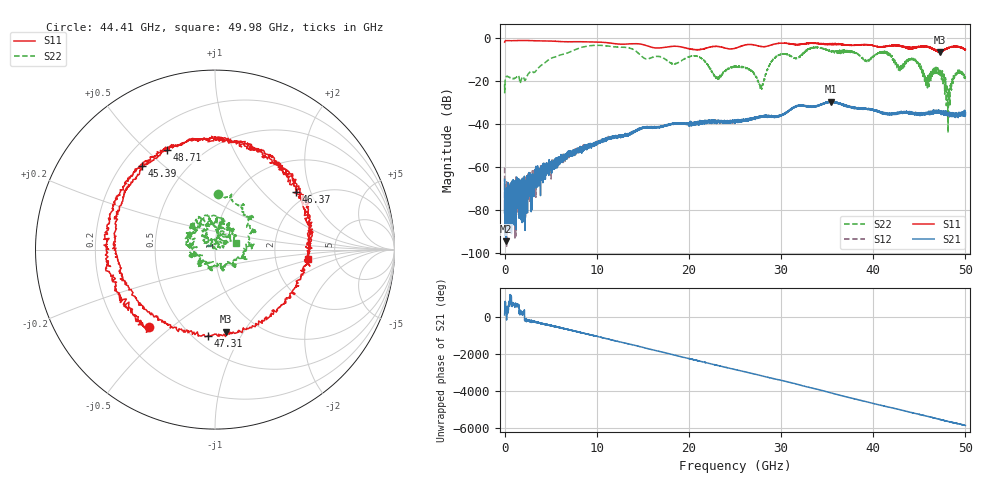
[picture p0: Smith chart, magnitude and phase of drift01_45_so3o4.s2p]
!Created with skrf (http://scikit-rf.org).
# Hz S RI R 50.0
!freq ReS11 ImS11 ReS21 ImS21 ReS12 ImS12 ReS22 ImS22
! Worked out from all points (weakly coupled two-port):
!   10001 points, 300 kHz to 50 GHz, reference 50 ohm
!   highest |S21| = -29.69 dB at 35.44 GHz (marker M1); lowest = -94.5 dB at 130.3 MHz (marker M2)
!   lowest |S11| = -6.7 dB at 47.23 GHz (marker M3), VSWR 2.72, Z = 36.1 - j42.1 ohm
!   |S11| at or under -10 dB: nowhere
!   |S22| runs from -44.1 to -3.6 dB; largest |S21 - S12| = 0.0035
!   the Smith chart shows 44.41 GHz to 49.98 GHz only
!   S11 on the Smith chart (normalised r, x): 44.41 GHz: 0.33, -0.42; 45.39 GHz: 0.28, +0.42; 46.37 GHz: 1.72, +1.58; 47.31 GHz: 0.58, -0.73; 48.71 GHz: 0.32, +0.58; 49.98 GHz: 3.10, -0.44
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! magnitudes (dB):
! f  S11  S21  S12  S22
! 300 kHz  -2.1  -65.7  -60.3  -21.7
! 130.3 MHz  -1.5  -94.5  -75.0  -18.3
! 8.335 GHz  -2.0  -51.8  -51.4  -4.6
! 16.67 GHz  -4.9  -41.6  -41.5  -8.7
! 20.97 GHz  -5.6  -39.8  -39.7  -8.8
! 23.07 GHz  -4.1  -39.2  -39.0  -18.5
! 25 GHz  -5.0  -39.0  -38.4  -13.8
! 27.83 GHz  -4.1  -36.7  -36.9  -22.5
! 29.48 GHz  -2.9  -36.8  -36.4  -8.8
! 33.34 GHz  -2.6  -31.9  -32.1  -4.7
! 35.44 GHz  -2.9  -29.7  -29.8  -6.4
! 41.67 GHz  -3.9  -35.4  -35.2  -7.6
! 42.83 GHz  -3.7  -35.1  -34.9  -13.5
! 44.41 GHz  -4.9  -35.1  -35.0  -10.2
! 45.39 GHz  -4.2  -35.4  -35.3  -16.0
! 46.37 GHz  -5.2  -35.3  -34.7  -17.3
! 47.23 GHz  -6.7  -34.8  -34.5  -17.4
! 47.31 GHz  -6.3  -34.7  -34.4  -15.0
! 48.12 GHz  -4.9  -35.2  -35.3  -38.1
! 48.71 GHz  -4.2  -36.4  -35.9  -18.2
! 49.98 GHz  -5.7  -35.1  -34.8  -18.4
! 50 GHz  -5.6  -35.8  -34.7  -18.6
